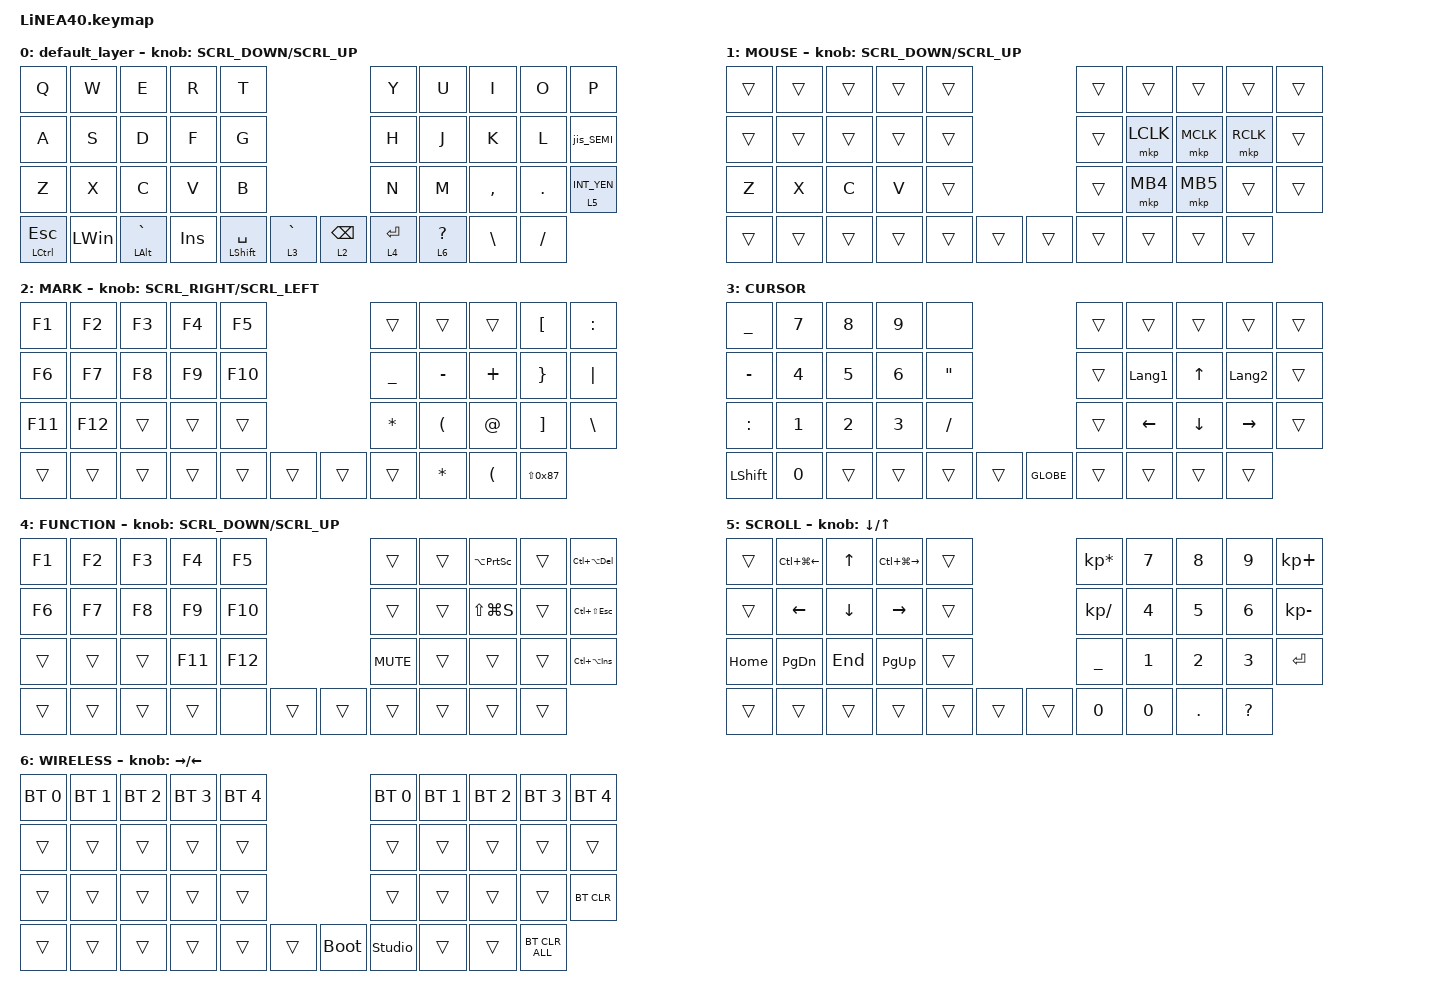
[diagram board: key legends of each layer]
#define ZMK_POINTING_DEFAULT_SCRL_VAL 150

#include <dt-bindings/zmk/input_transform.h>
#include <input/processors.dtsi>
#include <zephyr/dt-bindings/input/input-event-codes.h>
#include <behaviors.dtsi>
#include <dt-bindings/zmk/bt.h>
#include <dt-bindings/zmk/keys.h>
#include <dt-bindings/zmk/pointing.h>

// OS設定を日本語キーボードのまま使用するための変換定義

#define JP_DQUOTE       AT                // "
#define JP_AMPERSAND    CARET             // &
#define JP_QUOTE        AMPERSAND         // '
#define JP_EQUAL        UNDER             // =
#define JP_CARET        EQUAL             // ^
#define JP_YEN          0x89              // ¥
#define JP_PLUS         COLON             // +
#define JP_TILDE        PLUS              // ~
#define JP_PIPE         LS(0x89)          // |
#define JP_AT           LEFT_BRACKET      // @

// #define JP_COLON        SINGLE_QUOTE      // :

#define JP_ASTERISK     DOUBLE_QUOTES     // *
#define JP_BACKQUOTE    LEFT_BRACE        // `
#define JP_UNDERSCORE   LS(0x87)          // _
#define JP_LBRACKET     RIGHT_BRACKET     // [
#define JP_RBRACKET     BACKSLASH         // ]
#define JP_LPAREN       ASTERISK          // (
#define JP_RPAREN       LEFT_PARENTHESIS  // )
#define JP_LBRACE       RIGHT_BRACE       // {
#define JP_RBRACE       PIPE              // }
#define JP_KANA         LANGUAGE_1        // かな
#define JP_EISU         LANGUAGE_2        // 英数
#define JP_HANZEN       GRAVE             // 半角/全角
#define DEFAULT_LAYER   0
#define SECONDARY_LAYER 1
#define TERTIARY_LAYER  2
#define SYSTEM_LAYER    3
#define MOUSE_R_LAYER   4
#define SCROLL_R_LAYER  5
#define MOUSE_L_LAYER   6
#define SCROLL_L_LAYER  7
#define MOUSE 1
#define MARK 2
#define CURSOR 3
#define FUNCTION 4
#define SCROLL 5
#define WIRELESS 6

//mouse cursol

&mmv {
    delay-ms = <20>;
    trigger-period-ms = <5>;
    time-to-max-speed-ms = <100>;
    acceleration-exponent = <2>;
};

//mouse scroll

&msc {
    delay-ms = <3>;
    trigger-period-ms = <3>;
    time-to-max-speed-ms = <100>;
    acceleration-exponent = <0>;
};

/ {
    input_processors {
        zip_wheel_scaler: zip_wheel_scaler {
            compatible = "zmk,input-processor-scaler";
            #input-processor-cells = <2>;
            type = <INPUT_EV_REL>;
            codes = <INPUT_REL_WHEEL>;
            track-remainders;
        };
    };
};

&msc_input_listener {
    speed_up {
        layers = <FUNCTION>;
        input-processors = <&zip_wheel_scaler 3 1>; //スクロールを3倍速にする
    };
};

&trackball_listener {
    scroller {
        layers = <SCROLL>;
        input-processors =
            <&zip_xy_transform INPUT_TRANSFORM_Y_INVERT>,
            //スクロール方向を逆転,,,,,,,,,,,,,,
            <&zip_xy_to_scroll_mapper>;
    };
};

/ {
    combos {
        compatible = "zmk,combos";

        DeleteKey {
            bindings = <&kp DEL>;
            key-positions = <36 37>;
        };

        tab {
            bindings = <&kp TAB>;
            key-positions = <11 12>;
        };
    };

    behaviors {
        re_kp: sensor_rotate_kp {
            compatible = "zmk,behavior-sensor-rotate-var";
            #sensor-binding-cells = <2>;
            bindings = <&kp>, <&kp>;
        };

        mouse_scrl: mouse_wheel_scrl {
            compatible = "zmk,behavior-sensor-rotate-var";
            #sensor-binding-cells = <2>;
            bindings = <&msc>, <&msc>;

            tap-ms = <20>;
        };

        //コロンセミコロン

        jis_SEMI: jis_SEMI {
            compatible = "zmk,behavior-mod-morph";
            label = "jis_SEMI";
            #binding-cells = <0>;
            bindings = <&kp SEMI>, <&kp SQT>;

            mods = <(MOD_LSFT|MOD_RSFT)>;

            //keep-mods = <(MOD_LSFT|MOD_RSFT)>;
        };
    };

    keymap {
        compatible = "zmk,keymap";

        default_layer {
            bindings = <
&kp Q          &kp W         &kp E               &kp R    &kp T                                                 &kp Y        &kp U  &kp I        &kp O          &kp P
&kp A          &kp S         &kp D               &kp F    &kp G                                                 &kp H        &kp J  &kp K        &kp L          &jis_SEMI
&kp Z          &kp X         &kp C               &kp V    &kp B                                                 &kp N        &kp M  &kp COMMA    &kp DOT        &lt 5 INT_YEN
&mt LCTRL ESC  &kp LEFT_WIN  &mt LEFT_ALT GRAVE  &kp INS  &mt LEFT_SHIFT SPACE  &lt 3 GRAVE    &lt 2 BACKSPACE  &lt 4 ENTER         &lt 6 QMARK  &kp BACKSLASH  &kp SLASH
            >;

            sensor-bindings = <&mouse_scrl SCRL_DOWN SCRL_UP>;
        };

        //1

        MOUSE {
            bindings = <
&trans  &trans  &trans  &trans  &trans                    &trans  &trans     &trans     &trans     &trans
&trans  &trans  &trans  &trans  &trans                    &trans  &mkp LCLK  &mkp MCLK  &mkp RCLK  &trans
&kp Z   &kp X   &kp C   &kp V   &trans                    &trans  &mkp MB4   &mkp MB5   &trans     &trans
&trans  &trans  &trans  &trans  &trans  &trans    &trans  &trans             &trans     &trans     &trans
            >;

            sensor-bindings = <&mouse_scrl SCRL_DOWN SCRL_UP>;
        };

        //2

        MARK {
            bindings = <
&kp F1   &kp F2   &kp F3  &kp F4  &kp F5                     &trans         &trans         &trans         &kp JP_AT             &kp JP_PLUS
&kp F6   &kp F7   &kp F8  &kp F9  &kp F10                    &kp JP_EQUAL   &kp MINUS      &kp JP_TILDE   &kp JP_LBRACE         &kp JP_RBRACE
&kp F11  &kp F12  &trans  &trans  &trans                     &kp JP_LPAREN  &kp JP_RPAREN  &kp JP_DQUOTE  &kp JP_LBRACKET       &kp JP_RBRACKET
&trans   &trans   &trans  &trans  &trans   &trans    &trans  &trans                        &kp ASTERISK   &kp LEFT_PARENTHESIS  &kp JP_UNDERSCORE
            >;

            sensor-bindings = <&mouse_scrl SCRL_RIGHT SCRL_LEFT>;
        };

        //3

        CURSOR {
            bindings = <
&kp JP_EQUAL    &kp NUMBER_7  &kp NUMBER_8  &kp NUMBER_9  &none                                 &trans  &trans          &trans    &trans          &trans
&kp MINUS       &kp NUMBER_4  &kp NUMBER_5  &kp NUMBER_6  &kp JP_ASTERISK                       &trans  &kp LANGUAGE_1  &kp UP    &kp LANGUAGE_2  &trans
&kp JP_PLUS     &kp NUMBER_1  &kp NUMBER_2  &kp NUMBER_3  &kp SLASH                             &trans  &kp LEFT        &kp DOWN  &kp RIGHT       &trans
&kp LEFT_SHIFT  &kp NUMBER_0  &trans        &trans        &trans           &trans    &kp GLOBE  &trans                  &trans    &trans          &trans
            >;
        };

        //4

        FUNCTION {
            bindings = <
&kp F1  &kp F2  &kp F3  &kp F4   &kp F5                     &trans      &trans  &kp LA(PRINTSCREEN)  &trans  &kp LC(LA(DELETE))
&kp F6  &kp F7  &kp F8  &kp F9   &kp F10                    &trans      &trans  &kp LS(LG(S))        &trans  &kp LC(LS(ESCAPE))
&trans  &trans  &trans  &kp F11  &kp F12                    &kp C_MUTE  &trans  &trans               &trans  &kp LC(LA(INS))
&trans  &trans  &trans  &trans   &none    &trans    &trans  &trans              &trans               &trans  &trans
            >;

            sensor-bindings = <&mouse_scrl SCRL_DOWN SCRL_UP>;
        };

        //5

        SCROLL {
            bindings = <
&trans    &kp LC(LG(LEFT_ARROW))  &kp UP_ARROW  &kp LC(LG(RIGHT_ARROW))  &trans                    &kp KP_MULTIPLY  &kp NUMBER_7  &kp NUMBER_8  &kp NUMBER_9  &kp KP_PLUS
&trans    &kp LEFT_ARROW          &kp DOWN      &kp RIGHT_ARROW          &trans                    &kp KP_SLASH     &kp NUMBER_4  &kp NUMBER_5  &kp NUMBER_6  &kp KP_MINUS
&kp HOME  &kp PAGE_DOWN           &kp END       &kp PAGE_UP              &trans                    &kp UNDER        &kp NUMBER_1  &kp NUMBER_2  &kp NUMBER_3  &kp ENTER
&trans    &trans                  &trans        &trans                   &trans  &trans    &trans  &kp NUMBER_0                   &kp NUMBER_0  &kp DOT       &kp QUESTION
            >;

            sensor-bindings = <&inc_dec_kp DOWN_ARROW UP_ARROW>;
        };

        //6

        WIRELESS {
            bindings = <
&bt BT_SEL 0  &bt BT_SEL 1  &bt BT_SEL 2  &bt BT_SEL 3  &bt BT_SEL 4                         &bt BT_SEL 0    &bt BT_SEL 1  &bt BT_SEL 2  &bt BT_SEL 3  &bt BT_SEL 4
&trans        &trans        &trans        &trans        &trans                               &trans          &trans        &trans        &trans        &trans
&trans        &trans        &trans        &trans        &trans                               &trans          &trans        &trans        &trans        &bt BT_CLR
&trans        &trans        &trans        &trans        &trans        &trans    &bootloader  &studio_unlock                &trans        &trans        &bt BT_CLR_ALL
            >;

            sensor-bindings = <&inc_dec_kp RIGHT_ARROW LEFT_ARROW>;
        };
    };
};
